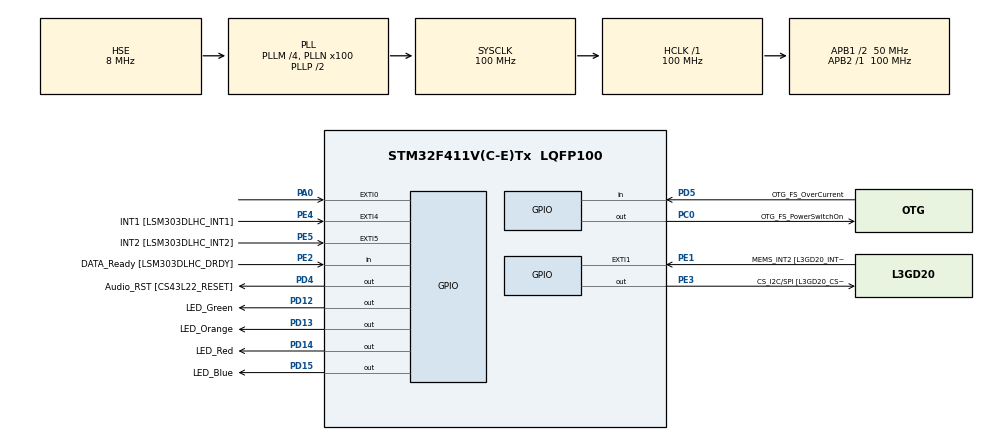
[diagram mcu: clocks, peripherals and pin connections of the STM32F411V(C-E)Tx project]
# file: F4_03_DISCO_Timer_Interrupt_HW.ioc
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Mcu.Family=STM32F4
Mcu.Name=STM32F411V(C-E)Tx
Mcu.Package=LQFP100
NVIC.PriorityGroup=NVIC_PRIORITYGROUP_0
NVIC.TIM1_UP_TIM10_IRQn=true\:0\:0\:false\:false\:true\:true\:true\:true
PA0-WKUP.GPIO_ModeDefaultEXTI=GPIO_MODE_EVT_RISING
PA0-WKUP.Signal=GPXTI0
PA10.GPIO_Label=OTG_FS_ID
PA10.Signal=USB_OTG_FS_ID
PA11.GPIO_Label=OTG_FS_DM
PA11.Signal=USB_OTG_FS_DM
PA12.GPIO_Label=OTG_FS_DP
PA12.Signal=USB_OTG_FS_DP
PA13.GPIO_Label=SWDIO
PA13.Mode=Serial_Wire
PA13.Signal=SYS_JTMS-SWDIO
PA14.GPIO_Label=SWCLK
PA14.Mode=Serial_Wire
PA14.Signal=SYS_JTCK-SWCLK
PA4.GPIO_Label=I2S3_WS [CS43L22_LRCK]
PA4.GPIO_Mode=GPIO_MODE_AF_PP
PA4.GPIO_PuPd=GPIO_NOPULL
PA4.GPIO_Speed=GPIO_SPEED_FREQ_LOW
PA4.Signal=I2S3_WS
PA5.GPIO_Label=SPI1_SCK [L3GD20_SC/SPC]
PA5.Signal=SPI1_SCK
PA6.GPIO_Label=SPI1_MISO [L3GD20_AS0/SDO]
PA6.Signal=SPI1_MISO
PA7.GPIO_Label=SPI1_MOSI [L3GD20_SDA/SDI/SDO]
PA7.Signal=SPI1_MOSI
PA9.GPIO_Label=VBUS_FS
PA9.Signal=USB_OTG_FS_VBUS
PB10.GPIO_Label=CLK_IN [MP45DT02_CLK]
PB10.Signal=I2S2_CK
PB12.Signal=I2S2_WS
PB3.GPIO_Label=SWO
PB3.Signal=SYS_JTDO-SWO
PB6.GPIO_Label=Audio_SCL [CS43L22_SCL]
PB6.GPIO_Mode=GPIO_MODE_AF_OD
PB6.GPIO_Pu=GPIO_PULLUP
PB6.GPIO_PuPd=GPIO_NOPULL
PB6.GPIO_Speed=GPIO_SPEED_FREQ_LOW
PB6.Signal=I2C1_SCL
PB9.GPIO_Label=Audio_SDA [CS43L22_SDA]
PB9.GPIO_Mode=GPIO_MODE_AF_OD
PB9.GPIO_Pu=GPIO_PULLUP
PB9.GPIO_PuPd=GPIO_NOPULL
PB9.GPIO_Speed=GPIO_SPEED_FREQ_LOW
PB9.Signal=I2C1_SDA
PC0.GPIO_Label=OTG_FS_PowerSwitchOn
PC0.PinState=GPIO_PIN_SET
PC0.Signal=GPIO_Output
PC10.GPIO_Label=I2S3_SCK [CS43L22_SCLK]
PC10.GPIO_Mode=GPIO_MODE_AF_PP
PC10.GPIO_PuPd=GPIO_NOPULL
PC10.GPIO_Speed=GPIO_SPEED_FREQ_LOW
PC10.Signal=I2S3_CK
PC12.GPIO_Label=I2S3_SD [CS43L22_SDIN]
PC12.GPIO_Mode=GPIO_MODE_AF_PP
PC12.GPIO_PuPd=GPIO_NOPULL
PC12.GPIO_Speed=GPIO_SPEED_FREQ_LOW
PC12.Signal=I2S3_SD
PC14-OSC32_IN.GPIO_Label=PC14-OSC32_IN
PC14-OSC32_IN.Signal=RCC_OSC32_IN
PC15-OSC32_OUT.GPIO_Label=PC15-OSC32_OUT
PC15-OSC32_OUT.Signal=RCC_OSC32_OUT
PC3.GPIO_Label=PDM_OUT [MP45DT02_DOUT]
PC3.Signal=I2S2_SD
PC7.GPIO_Label=I2S3_MCK [CS43L22_MCLK]
PC7.GPIO_Mode=GPIO_MODE_AF_PP
PC7.GPIO_PuPd=GPIO_NOPULL
PC7.GPIO_Speed=GPIO_SPEED_FREQ_LOW
PC7.Signal=I2S3_MCK
PD12.GPIO_Label=LED_Green
PD12.GPIO_PuPd=GPIO_NOPULL
PD12.GPIO_Speed=GPIO_SPEED_FREQ_LOW
PD12.Signal=GPIO_Output
PD13.GPIO_Label=LED_Orange
PD13.GPIO_PuPd=GPIO_NOPULL
PD13.GPIO_Speed=GPIO_SPEED_FREQ_LOW
PD13.Signal=GPIO_Output
PD14.GPIO_Label=LED_Red
PD14.GPIO_PuPd=GPIO_NOPULL
PD14.GPIO_Speed=GPIO_SPEED_FREQ_LOW
PD14.Signal=GPIO_Output
PD15.GPIO_Label=LED_Blue
PD15.GPIO_PuPd=GPIO_NOPULL
PD15.GPIO_Speed=GPIO_SPEED_FREQ_LOW
PD15.Signal=GPIO_Output
PD4.GPIO_Label=Audio_RST [CS43L22_RESET]
PD4.Signal=GPIO_Output
PD5.GPIO_Label=OTG_FS_OverCurrent
PD5.Signal=GPIO_Input
PE1.GPIO_Label=MEMS_INT2 [L3GD20_INT2]
PE1.GPIO_ModeDefaultEXTI=GPIO_MODE_EVT_RISING
PE1.Signal=GPXTI1
PE2.GPIO_Label=DATA_Ready [LSM303DLHC_DRDY]
PE2.Signal=GPIO_Input
PE3.GPIO_Label=CS_I2C/SPI [L3GD20_CS_I2C/SPI]
PE3.Signal=GPIO_Output
PE4.GPIO_Label=INT1 [LSM303DLHC_INT1]
PE4.GPIO_ModeDefaultEXTI=GPIO_MODE_EVT_RISING
PE4.Signal=GPXTI4
PE5.GPIO_Label=INT2 [LSM303DLHC_INT2]
PE5.GPIO_ModeDefaultEXTI=GPIO_MODE_EVT_RISING
PE5.Signal=GPXTI5
PH0\ -\ OSC_IN.GPIO_Label=PH0-OSC_IN
PH0\ -\ OSC_IN.Mode=HSE-External-Oscillator
PH0\ -\ OSC_IN.Signal=RCC_OSC_IN
PH1\ -\ OSC_OUT.GPIO_Label=PH1-OSC_OUT
PH1\ -\ OSC_OUT.Mode=HSE-External-Oscillator
PH1\ -\ OSC_OUT.Signal=RCC_OSC_OUT
ProjectManager.HeapSize=0x200
ProjectManager.StackSize=0x400
ProjectManager.TargetToolchain=STM32CubeIDE
RCC.48MHZClocksFreq_Value=25000000
RCC.AHBFreq_Value=100000000
RCC.APB1CLKDivider=RCC_HCLK_DIV2
RCC.APB1Freq_Value=50000000
RCC.APB1TimFreq_Value=100000000
RCC.APB2Freq_Value=100000000
RCC.APB2TimFreq_Value=100000000
RCC.CortexFreq_Value=100000000
RCC.HCLKFreq_Value=100000000
RCC.HSE_VALUE=8000000
RCC.HSI_VALUE=16000000
RCC.LSE_VALUE=32768
RCC.PLLI2SM=5
RCC.PLLI2SN=200
RCC.PLLM=4
RCC.PLLN=100
RCC.PLLQ=8
RCC.PLLSourceVirtual=RCC_PLLSOURCE_HSE
RCC.SYSCLKFreq_VALUE=100000000
RCC.SYSCLKSource=RCC_SYSCLKSOURCE_PLLCLK
RCC.VCOOutputFreq_Value=200000000
TIM10.AutoReloadPreload=TIM_AUTORELOAD_PRELOAD_DISABLE
TIM10.Period=89
TIM10.Prescaler=999
VP_TIM10_VS_ClockSourceINT.Mode=Enable_Timer
board=STM32F411E-DISCO

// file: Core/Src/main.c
/* USER CODE BEGIN Header */
/**
  ******************************************************************************
  * @file           : main.c
  * @brief          : Main program body
  ******************************************************************************
  * @attention
  *
  * Copyright (c) 2023 STMicroelectronics.
  * All rights reserved.
  *
  * This software is licensed under terms that can be found in the LICENSE file
  * in the root directory of this software component.
  * If no LICENSE file comes with this software, it is provided AS-IS.
  *
  ******************************************************************************
  */
/* USER CODE END Header */
#include "main.h"
#include "tim.h"
#include "gpio.h"

/* USER CODE BEGIN Includes */
#include "stdbool.h"
/* USER CODE END Includes */

/* USER CODE BEGIN PD */
#define DELAY 2000									// delay in milliseconds
#define FREQ 0.2									// frequency in Hz

#define R LED_Red_Pin
#define OR (LED_Orange_Pin | LED_Red_Pin)
#define GOR (LED_Green_Pin | LED_Orange_Pin | LED_Red_Pin)
#define BGOR (LED_Blue_Pin | LED_Green_Pin | LED_Orange_Pin | LED_Red_Pin)
#define BGO (LED_Blue_Pin | LED_Green_Pin | LED_Orange_Pin)
#define BG (LED_Blue_Pin | LED_Green_Pin)
#define B LED_Blue_Pin

/* USER CODE END PD */

/* USER CODE BEGIN PV */
uint8_t state = 0;
uint16_t counter = 0;
volatile bool blinking = true;
uint16_t blinking_delay;
/* USER CODE END PV */

void SystemClock_Config(void);
/* USER CODE BEGIN PFP */
void LB_LED_State_Switcher(uint8_t * led_state, volatile bool * mode);
void HAL_TIM_PeriodElapsedCallback(TIM_HandleTypeDef *htim);
/* USER CODE END PFP */

int main(void)
{

  /* MCU Configuration--------------------------------------------------------*/

  /* Reset of all peripherals, Initializes the Flash interface and the Systick. */
  HAL_Init();

  /* Configure the system clock */
  SystemClock_Config();

  /* Initialize all configured peripherals */
  MX_GPIO_Init();
  MX_TIM10_Init();
  /* USER CODE BEGIN 2 */
  HAL_TIM_Base_Start_IT(&htim10);
  blinking_delay = (uint16_t) 1000.0 / FREQ;
  /* USER CODE END 2 */

  /* Infinite loop */
  while (1)
  {

  }
}

void SystemClock_Config(void)
{
  RCC_OscInitTypeDef RCC_OscInitStruct = {0};
  RCC_ClkInitTypeDef RCC_ClkInitStruct = {0};

  /** Configure the main internal regulator output voltage
  */
  __HAL_RCC_PWR_CLK_ENABLE();
  __HAL_PWR_VOLTAGESCALING_CONFIG(PWR_REGULATOR_VOLTAGE_SCALE1);

  /** Initializes the RCC Oscillators according to the specified parameters
  * in the RCC_OscInitTypeDef structure.
  */
  RCC_OscInitStruct.OscillatorType = RCC_OSCILLATORTYPE_HSE;
  RCC_OscInitStruct.HSEState = RCC_HSE_ON;
  RCC_OscInitStruct.PLL.PLLState = RCC_PLL_ON;
  RCC_OscInitStruct.PLL.PLLSource = RCC_PLLSOURCE_HSE;
  RCC_OscInitStruct.PLL.PLLM = 4;
  RCC_OscInitStruct.PLL.PLLN = 100;
  RCC_OscInitStruct.PLL.PLLP = RCC_PLLP_DIV2;
  RCC_OscInitStruct.PLL.PLLQ = 8;
  if (HAL_RCC_OscConfig(&RCC_OscInitStruct) != HAL_OK)
  {
    Error_Handler();
  }

  /** Initializes the CPU, AHB and APB buses clocks
  */
  RCC_ClkInitStruct.ClockType = RCC_CLOCKTYPE_HCLK|RCC_CLOCKTYPE_SYSCLK
                              |RCC_CLOCKTYPE_PCLK1|RCC_CLOCKTYPE_PCLK2;
  RCC_ClkInitStruct.SYSCLKSource = RCC_SYSCLKSOURCE_PLLCLK;
  RCC_ClkInitStruct.AHBCLKDivider = RCC_SYSCLK_DIV1;
  RCC_ClkInitStruct.APB1CLKDivider = RCC_HCLK_DIV2;
  RCC_ClkInitStruct.APB2CLKDivider = RCC_HCLK_DIV1;

  if (HAL_RCC_ClockConfig(&RCC_ClkInitStruct, FLASH_LATENCY_3) != HAL_OK)
  {
    Error_Handler();
  }
}

/* USER CODE BEGIN 4 */
void HAL_TIM_PeriodElapsedCallback(TIM_HandleTypeDef *htim)
{
	if (TIM10 == htim->Instance)
	{
		if (blinking)
		{
			if (blinking_delay == counter++)
			{
				counter = 0;
				LB_LED_State_Switcher(&state, &blinking);
			}
		}
		else
		{
			if (DELAY == counter++)
			{
				counter = blinking_delay;
				blinking = true;
			}
		}
	}
}

void LB_LED_State_Switcher (uint8_t * led_state, volatile bool * mode)
{
	switch (*led_state)
	{
		case 0 :	HAL_GPIO_WritePin(GPIOD, LED_Blue_Pin, SET);
					break;
		case 1 :	HAL_GPIO_WritePin(GPIOD, LED_Green_Pin, SET);
					break;
		case 2 :	HAL_GPIO_WritePin(GPIOD, LED_Orange_Pin, SET);
					break;
		case 3 :	HAL_GPIO_WritePin(GPIOD, LED_Red_Pin, SET);
					break;
		case 4 :	HAL_GPIO_WritePin(GPIOD, LED_Blue_Pin, RESET);
					break;
		case 5 :	HAL_GPIO_WritePin(GPIOD, LED_Green_Pin, RESET);
					break;
		case 6 :	HAL_GPIO_WritePin(GPIOD, LED_Orange_Pin, RESET);
					break;
		default :	HAL_GPIO_WritePin(GPIOD, LED_Red_Pin, RESET);
	}
	(*led_state)++;
	if (*led_state > 7)
	{
		*led_state = 0;
		*mode = false;
	}
}
/* USER CODE END 4 */

void Error_Handler(void)
{
  __disable_irq();
  while (1)
  {
  }
}
